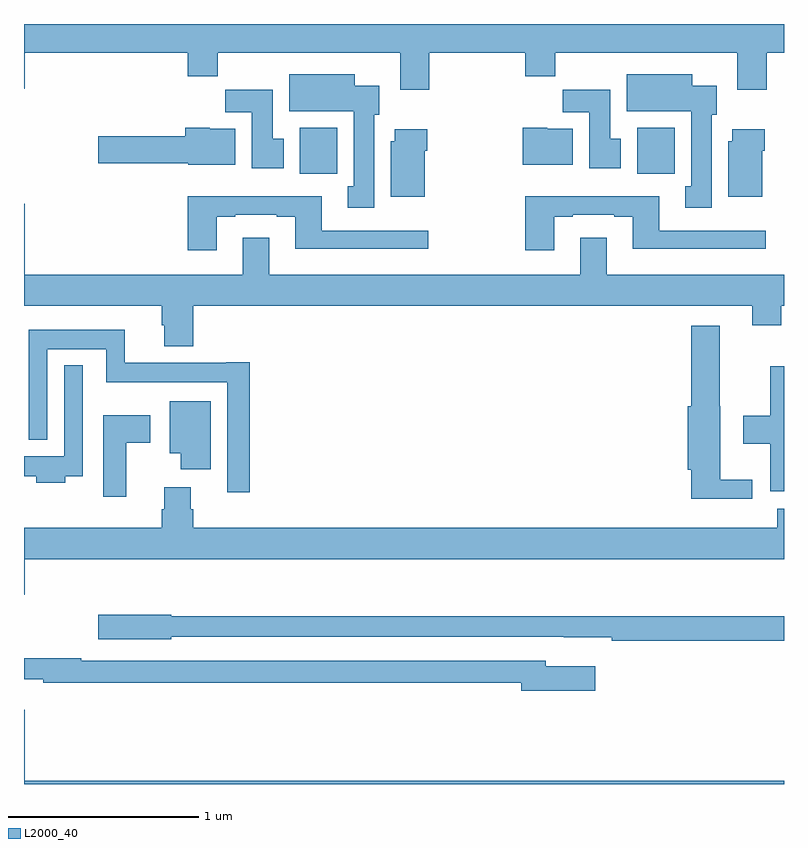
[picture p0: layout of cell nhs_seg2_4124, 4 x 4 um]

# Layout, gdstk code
import gdstk
lib = gdstk.Library(unit=1e-6, precision=1e-09)
def R(c, l, rs):  # rectangles x0, y0, x1, y1
    for r in rs: c.add(gdstk.rectangle(r[:2], r[2:], *l))
def P(c, l, *ps):  # polygons
    for p in ps: c.add(gdstk.Polygon(p, *l))
L2000_40 = (2000, 40)

nhs_seg2_4124 = lib.new_cell('nhs_seg2_4124')
R(nhs_seg2_4124, L2000_40, [(334.451,635.012,334.648,635.254), (336.227,635.012,336.424,635.254)])
P(nhs_seg2_4124, L2000_40, [(335.132,635.648),(335.639,635.648),(335.639,635.524),(335.795,635.524),(335.795,635.648),(336.755,635.648),(336.755,635.454),(336.908,635.454),(336.908,635.648),(337,635.648),(337,635.8),(333,635.8),(333,635.46),(333.004,635.46),(333.004,635.648),(333.863,635.648),(333.863,635.524),(334.019,635.524),(334.019,635.648),(334.979,635.648),(334.979,635.454),(335.132,635.454)],
  [(334.843,635.322),(334.87,635.322),(334.87,635.476),(334.741,635.476),(334.741,635.536),(334.397,635.536),(334.397,635.342),(334.736,635.342),(334.736,634.946),(334.703,634.946),(334.703,634.833),(334.843,634.833)],
  [(336.619,635.322),(336.646,635.322),(336.646,635.476),(336.517,635.476),(336.517,635.536),(336.173,635.536),(336.173,635.342),(336.512,635.342),(336.512,634.946),(336.479,634.946),(336.479,634.833),(336.619,634.833)],
  [(334.366,635.196),(334.309,635.196),(334.309,635.454),(334.06,635.454),(334.06,635.336),(334.199,635.336),(334.199,635.04),(334.366,635.04)],
  [(336.142,635.196),(336.085,635.196),(336.085,635.454),(335.836,635.454),(335.836,635.336),(335.975,635.336),(335.975,635.04),(336.142,635.04)],
  [(335.887,635.248),(335.754,635.248),(335.754,635.254),(335.624,635.254),(335.624,635.06),(335.887,635.06)],
  [(334.111,635.248),(333.978,635.248),(333.978,635.254),(333.848,635.254),(333.848,635.208),(333.39,635.208),(333.39,635.066),(333.864,635.066),(333.864,635.06),(334.111,635.06)],
  [(335.11,635.132),(335.123,635.132),(335.123,635.245),(334.952,635.245),(334.952,635.184),(334.931,635.184),(334.931,634.892),(335.11,634.892)],
  [(336.886,635.132),(336.899,635.132),(336.899,635.245),(336.728,635.245),(336.728,635.184),(336.707,635.184),(336.707,634.892),(336.886,634.892)],
  [(334.015,634.785),(334.111,634.785),(334.111,634.797),(334.331,634.797),(334.331,634.785),(334.427,634.785),(334.427,634.616),(335.128,634.616),(335.128,634.713),(334.567,634.713),(334.567,634.894),(333.863,634.894),(333.863,634.608),(334.015,634.608)],
  [(335.791,634.785),(335.887,634.785),(335.887,634.797),(336.107,634.797),(336.107,634.785),(336.203,634.785),(336.203,634.616),(336.904,634.616),(336.904,634.713),(336.343,634.713),(336.343,634.894),(335.639,634.894),(335.639,634.608),(335.791,634.608)],
  [(333.89,634.316),(336.833,634.316),(336.833,634.214),(336.986,634.214),(336.986,634.316),(337,634.316),(337,634.48),(336.067,634.48),(336.067,634.675),(335.927,634.675),(335.927,634.48),(334.291,634.48),(334.291,634.675),(334.151,634.675),(334.151,634.48),(333.004,634.48),(333.004,634.855),(333,634.855),(333,634.316),(333.725,634.316),(333.725,634.215),(333.737,634.215),(333.737,634.103),(333.89,634.103)],
  [(336.832,633.401),(336.664,633.401),(336.664,633.789),(336.661,633.789),(336.661,634.213),(336.512,634.213),(336.512,633.789),(336.494,633.789),(336.494,633.453),(336.512,633.453),(336.512,633.302),(336.832,633.302)],
  [(334.187,634.021),(334.064,634.021),(334.064,634.018),(333.53,634.018),(333.53,634.192),(333.026,634.192),(333.026,633.611),(333.123,633.611),(333.123,634.088),(333.432,634.088),(333.432,633.914),(334.071,633.914),(334.071,633.336),(334.187,633.336)],
  [(333.217,633.42),(333.309,633.42),(333.309,634.003),(333.213,634.003),(333.213,633.526),(333,633.526),(333,633.42),(333.065,633.42),(333.065,633.386),(333.217,633.386)],
  [(337,633.998),(336.928,633.998),(336.928,633.738),(336.786,633.738),(336.786,633.59),(336.928,633.59),(336.928,633.342),(337,633.342)],
  [(333.982,633.814),(333.767,633.814),(333.767,633.542),(333.824,633.542),(333.824,633.456),(333.982,633.456)],
  [(333.538,633.595),(333.664,633.595),(333.664,633.742),(333.416,633.742),(333.416,633.312),(333.538,633.312)],
  [(333.004,632.984),(337,632.984),(337,633.25),(336.965,633.25),(336.965,633.148),(333.89,633.148),(333.89,633.246),(333.877,633.246),(333.877,633.361),(333.737,633.361),(333.737,633.246),(333.725,633.246),(333.725,633.148),(333,633.148),(333,632.796),(333.004,632.796)],
  [(337,632.683),(333.774,632.683),(333.774,632.691),(333.39,632.691),(333.39,632.561),(333.774,632.561),(333.774,632.574),(335.842,632.574),(335.842,632.573),(336.094,632.573),(336.094,632.554),(337,632.554)],
  [(336.007,632.419),(335.746,632.419),(335.746,632.448),(333.302,632.448),(333.302,632.461),(333,632.461),(333,632.351),(333.1,632.351),(333.1,632.332),(335.618,632.332),(335.618,632.29),(336.007,632.29)],
  [(337,631.816),(333.004,631.816),(333.004,632.191),(333,632.191),(333,631.8),(337,631.8)])

lib.write_gds('nhs_seg2_4124.gds')
